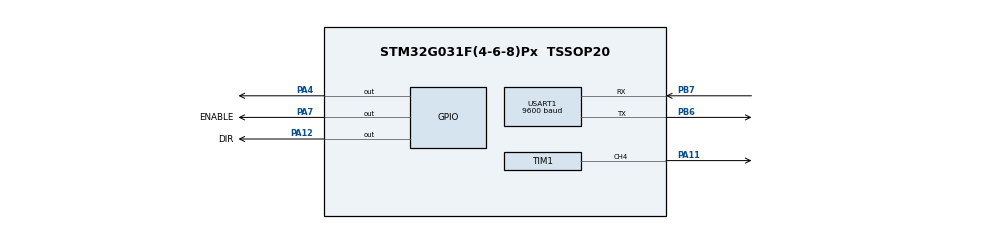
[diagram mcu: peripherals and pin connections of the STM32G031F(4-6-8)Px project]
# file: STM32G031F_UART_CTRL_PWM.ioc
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Mcu.Family=STM32G0
Mcu.Name=STM32G031F(4-6-8)Px
Mcu.Package=TSSOP20
NVIC.TIM14_IRQn=true\:0\:0\:false\:false\:true\:true\:true\:true
NVIC.TIM1_CC_IRQn=true\:0\:0\:false\:false\:true\:true\:true\:true
NVIC.USART1_IRQn=true\:0\:0\:false\:false\:true\:true\:true\:true
PA11\ [PA9].GPIO_Speed=GPIO_SPEED_FREQ_MEDIUM
PA11\ [PA9].Signal=S_TIM1_CH4
PA12\ [PA10].GPIO_Label=DIR
PA12\ [PA10].GPIO_Speed=GPIO_SPEED_FREQ_MEDIUM
PA12\ [PA10].Signal=GPIO_Output
PA14-BOOT0__PA15.StandardMode=true
PA4.Signal=GPIO_Output
PA7.GPIO_Label=ENABLE
PA7.GPIO_Speed=GPIO_SPEED_FREQ_MEDIUM
PA7.Signal=GPIO_Output
PB0__PB1__PB2__PA8.StandardMode=true
PB3__PB4__PB5__PB6.StandardMode=true
PB6.Mode=Asynchronous
PB6.Signal=USART1_TX
PB7.Mode=Asynchronous
PB7.Signal=USART1_RX
PB7__PB8.StandardMode=true
PC14-OSC32_IN\ (PC14)__PB9.StandardMode=true
ProjectManager.HeapSize=0x200
ProjectManager.StackSize=0x400
ProjectManager.TargetToolchain=EWARM V8.50
RCC.AHBFreq_Value=16000000
RCC.CortexFreq_Value=16000000
RCC.EXTERNAL_CLOCK_VALUE=12288000
RCC.HCLKFreq_Value=16000000
RCC.HSE_VALUE=8000000
RCC.HSI_VALUE=16000000
RCC.LSE_VALUE=32768
RCC.SYSCLKFreq_VALUE=16000000
RCC.VCOOutputFreq_Value=128000000
SH.S_TIM1_CH4.0=TIM1_CH4,PWM Generation4 CH4
TIM1.Channel-PWM\ Generation4\ CH4=TIM_CHANNEL_4
TIM1.OCFastMode_PWM-PWM\ Generation4\ CH4=TIM_OCFAST_ENABLE
TIM1.Period=9
TIM1.Prescaler=7
TIM1.Pulse-PWM\ Generation4\ CH4=200
TIM14.AutoReloadPreload=TIM_AUTORELOAD_PRELOAD_ENABLE
TIM14.Period=999
TIM14.Prescaler=15999
USART1.BaudRate=9600
USART1.VirtualMode-Asynchronous=VM_ASYNC
VP_TIM14_VS_ClockSourceINT.Mode=Enable_Timer
board=custom

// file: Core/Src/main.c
/* USER CODE BEGIN Header */
/**
  ******************************************************************************
  * @file           : main.c
  * @brief          : Main program body
  ******************************************************************************
  * @attention
  *
  * Copyright (c) 2024 STMicroelectronics.
  * All rights reserved.
  *
  * This software is licensed under terms that can be found in the LICENSE file
  * in the root directory of this software component.
  * If no LICENSE file comes with this software, it is provided AS-IS.
  *
  ******************************************************************************
  */
/* USER CODE END Header */
#include "main.h"
#include "tim.h"
#include "usart.h"
#include "gpio.h"

/* USER CODE BEGIN Includes */
#include "nortos.h"
/* USER CODE END Includes */

/* USER CODE BEGIN PD */
#define BUFFER_UART_LEN 32
#define BASE_FREQ 16000000

/* USER CODE END PD */

void SystemClock_Config(void);

/* USER CODE BEGIN 0 */
uint8_t receiveBuffer[BUFFER_UART_LEN];
volatile uint32_t timerSet = 0;
uint32_t CountTim1P = 5000000;

void runCmdFromUart(void){
  uint32_t frequency = 0;
  uint32_t ARR_reg_val = 0;
  uint32_t PSC_reg_val = 7;
  static uint32_t pulses = 1000; //im ms

  if(receiveBuffer[0] == 'f'){ //frequency
    frequency += (receiveBuffer[1] - 0x30) *100000;
    frequency += (receiveBuffer[2] - 0x30) *10000;
    frequency += (receiveBuffer[3] - 0x30) *1000;
    frequency += (receiveBuffer[4] - 0x30) *100;
    frequency += (receiveBuffer[5] - 0x30) *10;
    frequency += receiveBuffer[6] - 0x30;
   if(frequency > 10000)
     PSC_reg_val = 0;
   else
     if(frequency > 100)
     PSC_reg_val = 7;
     else
     PSC_reg_val = 4095;

  ARR_reg_val = (BASE_FREQ/(PSC_reg_val+1))/frequency;
  LL_TIM_WriteReg(TIM1, PSC, PSC_reg_val);
  LL_TIM_WriteReg(TIM1, ARR, ARR_reg_val);

  CountTim1P = pulses-1;
  LL_TIM_WriteReg(TIM1, CCR1, 0);
  LL_TIM_OC_SetCompareCH4(TIM1, (ARR_reg_val/2)); //50% PWM, 100 kHz

  }
  if(receiveBuffer[0] == 'd'){
    if(receiveBuffer[1] == '1')
      LL_GPIO_ResetOutputPin(DIR_GPIO_Port,DIR_Pin);
    else
      if(receiveBuffer[1] == '0')
        LL_GPIO_SetOutputPin(DIR_GPIO_Port,DIR_Pin);
  }
  if(receiveBuffer[0] == 'e'){
    if(receiveBuffer[1] == '1')
      LL_GPIO_ResetOutputPin(ENABLE_GPIO_Port,ENABLE_Pin);
    else
      if(receiveBuffer[1] == '0')
        LL_GPIO_SetOutputPin(ENABLE_GPIO_Port,ENABLE_Pin);
  }
  if(receiveBuffer[0] == 'p'){ //pulses
   pulses = 0;
   pulses += (receiveBuffer[1] - 0x30) *100000000;
   pulses += (receiveBuffer[2] - 0x30) *10000000;
   pulses += (receiveBuffer[3] - 0x30) *1000000;
   pulses += (receiveBuffer[4] - 0x30) *100000;
   pulses += (receiveBuffer[5] - 0x30) *10000;
   pulses += (receiveBuffer[6] - 0x30) *1000;
   pulses += (receiveBuffer[7] - 0x30) *100;
   pulses += (receiveBuffer[8] - 0x30) *10;
   pulses += receiveBuffer[9] - 0x30;
  }

}

void StopSTP(void){
// LL_TIM_OC_SetCompareCH4(TIM1, 0xFFFF);
}

/* USER CODE END 0 */

int main(void)
{

  /* MCU Configuration--------------------------------------------------------*/

  /* Reset of all peripherals, Initializes the Flash interface and the Systick. */
  LL_APB2_GRP1_EnableClock(LL_APB2_GRP1_PERIPH_SYSCFG);
  LL_APB1_GRP1_EnableClock(LL_APB1_GRP1_PERIPH_PWR);

  /* SysTick_IRQn interrupt configuration */
  NVIC_SetPriority(SysTick_IRQn, 3);

  /* Configure the system clock */
  SystemClock_Config();

  /* Initialize all configured peripherals */
  MX_GPIO_Init();
  MX_USART1_UART_Init();
  MX_TIM1_Init();
  MX_TIM14_Init();
  /* USER CODE BEGIN 2 */
  CountTim1P = 0;
  LL_USART_EnableIT_RXNE(USART1);
  LL_USART_EnableIT_ERROR(USART1);

  TIM1->BDTR |=(TIM_BDTR_MOE);
  LL_TIM_EnableCounter(TIM1);
  LL_TIM_CC_EnableChannel(TIM1, LL_TIM_CHANNEL_CH4);
  LL_TIM_EnableIT_CC1(TIM1);

  LL_TIM_EnableCounter(TIM14);
  LL_TIM_EnableIT_UPDATE(TIM14);

  F1_QueueIni();
  F2_QueueIni();

  /* USER CODE END 2 */

  /* Infinite loop */
  while (1)
  {

    /* USER CODE BEGIN 3 */
    F1_pull()();
    F2_pull()();
  }
  /* USER CODE END 3 */
}

void SystemClock_Config(void)
{
  /* HSI configuration and activation */
  LL_RCC_HSI_Enable();
  while(LL_RCC_HSI_IsReady() != 1)
  {
  }

  /* Set AHB prescaler*/
  LL_RCC_SetAHBPrescaler(LL_RCC_SYSCLK_DIV_1);

  /* Sysclk activation on the HSI */
  LL_RCC_SetSysClkSource(LL_RCC_SYS_CLKSOURCE_HSI);
  while(LL_RCC_GetSysClkSource() != LL_RCC_SYS_CLKSOURCE_STATUS_HSI)
  {
  }

  /* Set APB1 prescaler*/
  LL_RCC_SetAPB1Prescaler(LL_RCC_APB1_DIV_1);

  LL_Init1msTick(16000000);

  /* Update CMSIS variable (which can be updated also through SystemCoreClockUpdate function) */
  LL_SetSystemCoreClock(16000000);
}

/* USER CODE BEGIN 4 */

void USART_CharReception_Callback(void){
  static int bytes = 0;
  uint8_t received_char;

  received_char = LL_USART_ReceiveData8(USART1);
  if(received_char == '@'){

      if (bytes >1)
        F1_push(runCmdFromUart);

      bytes = 0;
  }
  else{
    receiveBuffer[bytes] = received_char;
    bytes++;
  }

}

void TIM14_Reload_Callback(void){
  static int count = 0;

  if(!(count%2))
    LL_GPIO_SetOutputPin(GPIOA,LL_GPIO_PIN_4);
   else
    LL_GPIO_ResetOutputPin(GPIOA,LL_GPIO_PIN_4);
  count++;
}

/* USER CODE END 4 */

void Error_Handler(void)
{
  __disable_irq();
  while (1)
  {
  }
}
